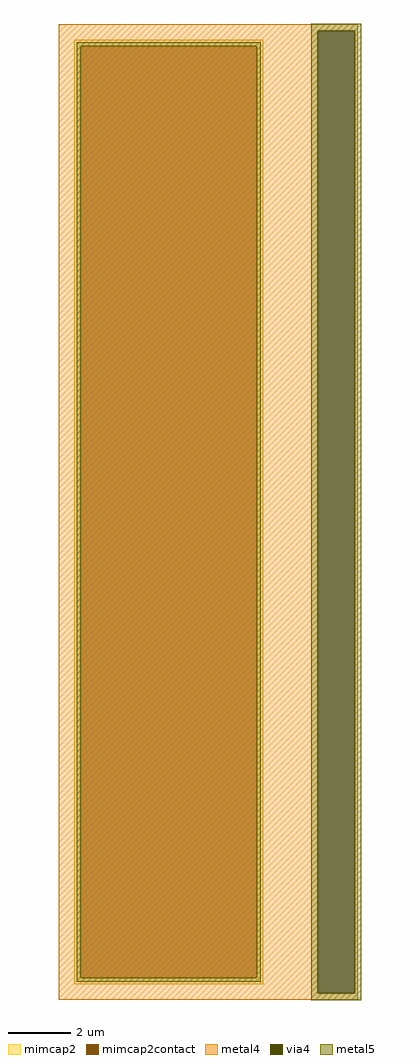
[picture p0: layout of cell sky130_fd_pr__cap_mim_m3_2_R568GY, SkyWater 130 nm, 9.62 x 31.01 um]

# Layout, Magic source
magic
tech sky130A
magscale 1 2
<< metal4 >>
rect -951 3059 951 3100
rect -951 -3059 695 3059
rect 931 -3059 951 3059
rect -951 -3100 951 -3059
<< via4 >>
rect 695 -3059 931 3059
<< mimcap2 >>
rect -851 2960 349 3000
rect -851 -2960 -811 2960
rect 309 -2960 349 2960
rect -851 -3000 349 -2960
<< mimcap2contact >>
rect -811 -2960 309 2960
<< metal5 >>
rect 653 3059 973 3101
rect -835 2960 333 2984
rect -835 -2960 -811 2960
rect 309 -2960 333 2960
rect -835 -2984 333 -2960
rect 653 -3059 695 3059
rect 931 -3059 973 3059
rect 653 -3101 973 -3059
<< properties >>
string FIXED_BBOX -951 -3100 449 3100
string gencell sky130_fd_pr__cap_mim_m3_2
string library sky130
string parameters w 6 l 30 val 373.68 carea 2.00 cperi 0.19 nx 1 ny 1 dummy 0 square 0 lmin 2.00 wmin 2.00 lmax 30.0 wmax 30.0 dc 0 bconnect 1 tconnect 1 ccov 100
<< end >>
